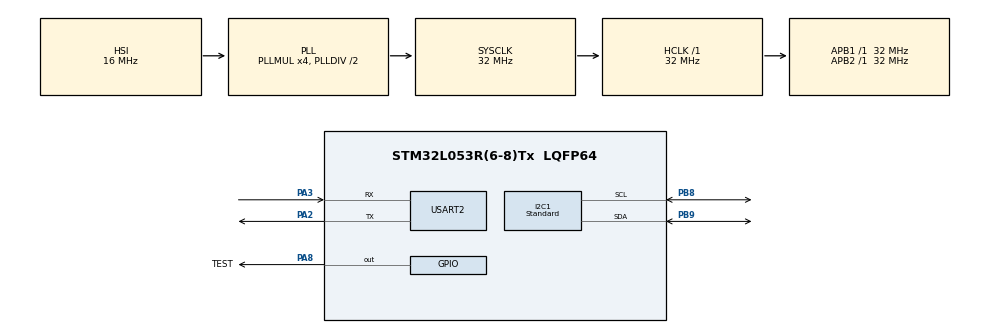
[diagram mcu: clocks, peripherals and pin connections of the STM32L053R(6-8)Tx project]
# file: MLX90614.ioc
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I2C1.I2C_Speed_Mode=I2C_Standard
I2C1.Timing=0x00707CBB
Mcu.Family=STM32L0
Mcu.Name=STM32L053R(6-8)Tx
Mcu.Package=LQFP64
PA2.Mode=Asynchronous
PA2.Signal=USART2_TX
PA3.Mode=Asynchronous
PA3.Signal=USART2_RX
PA8.GPIO_Label=TEST
PA8.Signal=GPIO_Output
PB8.Mode=I2C
PB8.Signal=I2C1_SCL
PB9.Mode=I2C
PB9.Signal=I2C1_SDA
ProjectManager.HeapSize=0x200
ProjectManager.StackSize=0x400
ProjectManager.TargetToolchain=SW4STM32
RCC.AHBFreq_Value=32000000
RCC.APB1Freq_Value=32000000
RCC.APB1TimFreq_Value=32000000
RCC.APB2Freq_Value=32000000
RCC.APB2TimFreq_Value=32000000
RCC.HCLKFreq_Value=32000000
RCC.HSE_VALUE=8000000
RCC.HSI16_VALUE=16000000
RCC.HSI48_VALUE=48000000
RCC.HSI_VALUE=16000000
RCC.LSE_VALUE=32768
RCC.MSI_VALUE=2097000
RCC.PLLMUL=RCC_PLLMUL_4
RCC.SYSCLKFreq_VALUE=32000000
RCC.SYSCLKSource=RCC_SYSCLKSOURCE_PLLCLK
RCC.VCOOutputFreq_Value=64000000
USART2.VirtualMode-Asynchronous=VM_ASYNC
board=custom

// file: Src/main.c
/* USER CODE BEGIN Header */
/**
  ******************************************************************************
  * @file           : main.c
  * @brief          : Main program body
  ******************************************************************************
  ** This notice applies to any and all portions of this file
  * that are not between comment pairs USER CODE BEGIN and
  * USER CODE END. Other portions of this file, whether
  * inserted by the user or by software development tools
  * are owned by their respective copyright owners.
  *
  * COPYRIGHT(c) 2019 STMicroelectronics
  *
  * Redistribution and use in source and binary forms, with or without modification,
  * are permitted provided that the following conditions are met:
  *   1. Redistributions of source code must retain the above copyright notice,
  *      this list of conditions and the following disclaimer.
  *   2. Redistributions in binary form must reproduce the above copyright notice,
  *      this list of conditions and the following disclaimer in the documentation
  *      and/or other materials provided with the distribution.
  *   3. Neither the name of STMicroelectronics nor the names of its contributors
  *      may be used to endorse or promote products derived from this software
  *      without specific prior written permission.
  *
  * THIS SOFTWARE IS PROVIDED BY THE COPYRIGHT HOLDERS AND CONTRIBUTORS "AS IS"
  * AND ANY EXPRESS OR IMPLIED WARRANTIES, INCLUDING, BUT NOT LIMITED TO, THE
  * IMPLIED WARRANTIES OF MERCHANTABILITY AND FITNESS FOR A PARTICULAR PURPOSE ARE
  * DISCLAIMED. IN NO EVENT SHALL THE COPYRIGHT HOLDER OR CONTRIBUTORS BE LIABLE
  * FOR ANY DIRECT, INDIRECT, INCIDENTAL, SPECIAL, EXEMPLARY, OR CONSEQUENTIAL
  * DAMAGES (INCLUDING, BUT NOT LIMITED TO, PROCUREMENT OF SUBSTITUTE GOODS OR
  * SERVICES; LOSS OF USE, DATA, OR PROFITS; OR BUSINESS INTERRUPTION) HOWEVER
  * CAUSED AND ON ANY THEORY OF LIABILITY, WHETHER IN CONTRACT, STRICT LIABILITY,
  * OR TORT (INCLUDING NEGLIGENCE OR OTHERWISE) ARISING IN ANY WAY OUT OF THE USE
  * OF THIS SOFTWARE, EVEN IF ADVISED OF THE POSSIBILITY OF SUCH DAMAGE.
  *
  ******************************************************************************
  */
/* USER CODE END Header */

#include "main.h"
#include "i2c.h"
#include "usart.h"
#include "gpio.h"

/* USER CODE BEGIN Includes */
#include <stdio.h>
#include <string.h>
#include "mlx90614.h"
/* USER CODE END Includes */

/* USER CODE BEGIN PTD */
#define TIME_TEST
/* USER CODE END PTD */

/* USER CODE BEGIN PV */
char buf[30];
uint8_t len;

float ObjectTemperature;
float AmbientTemperature;
float Emissivity;
/* USER CODE END PV */

void SystemClock_Config(void);

int main(void)
{

  /* MCU Configuration--------------------------------------------------------*/

  /* Reset of all peripherals, Initializes the Flash interface and the Systick. */
  HAL_Init();

  /* Configure the system clock */
  SystemClock_Config();

  /* Initialize all configured peripherals */
  MX_GPIO_Init();
  MX_USART2_UART_Init();
  MX_I2C1_Init();
  /* USER CODE BEGIN 2 */
  HAL_GPIO_WritePin(TEST_GPIO_Port, TEST_Pin, 0);
  MLX90614_Init(&hi2c1);
  MLX90614_SetEmissivity(0.985); // Human skin
  /* USER CODE END 2 */

  /* Infinite loop */
  /* USER CODE BEGIN WHILE */
  while (1)
  {

	  MLX90614_ReadAmbientTemperature(&AmbientTemperature);
#ifdef TIME_TEST
	  HAL_GPIO_WritePin(TEST_GPIO_Port, TEST_Pin, 1);
#endif
	  MLX90614_ReadObjectTemperature(&ObjectTemperature);
#ifdef TIME_TEST
	  HAL_GPIO_WritePin(TEST_GPIO_Port, TEST_Pin, 0);
#endif
	  MLX90614_GetEmissivity(&Emissivity);

	  memset(buf, 0x00, 30);
	  len = sprintf(buf, "Emissivity: %.3f\n\r", Emissivity);
	  HAL_UART_Transmit(&huart2, (uint8_t*)buf, len, 20);

	  memset(buf, 0x00, 30);
	  len = sprintf(buf, "Ambient: %.2f\n\r", AmbientTemperature);
	  HAL_UART_Transmit(&huart2, (uint8_t*)buf, len, 20);

	  memset(buf, 0x00, 30);
	  len = sprintf(buf, "Object: %.2f\n\n\r", ObjectTemperature);
	  HAL_UART_Transmit(&huart2, (uint8_t*)buf, len, 20);

	  HAL_Delay(500);
    /* USER CODE END WHILE */

  }
}

void SystemClock_Config(void)
{
  RCC_OscInitTypeDef RCC_OscInitStruct = {0};
  RCC_ClkInitTypeDef RCC_ClkInitStruct = {0};
  RCC_PeriphCLKInitTypeDef PeriphClkInit = {0};

  /**Configure the main internal regulator output voltage
  */
  __HAL_PWR_VOLTAGESCALING_CONFIG(PWR_REGULATOR_VOLTAGE_SCALE1);
  /**Initializes the CPU, AHB and APB busses clocks
  */
  RCC_OscInitStruct.OscillatorType = RCC_OSCILLATORTYPE_HSI;
  RCC_OscInitStruct.HSIState = RCC_HSI_ON;
  RCC_OscInitStruct.HSICalibrationValue = RCC_HSICALIBRATION_DEFAULT;
  RCC_OscInitStruct.PLL.PLLState = RCC_PLL_ON;
  RCC_OscInitStruct.PLL.PLLSource = RCC_PLLSOURCE_HSI;
  RCC_OscInitStruct.PLL.PLLMUL = RCC_PLLMUL_4;
  RCC_OscInitStruct.PLL.PLLDIV = RCC_PLLDIV_2;
  if (HAL_RCC_OscConfig(&RCC_OscInitStruct) != HAL_OK)
  {
    Error_Handler();
  }
  /**Initializes the CPU, AHB and APB busses clocks
  */
  RCC_ClkInitStruct.ClockType = RCC_CLOCKTYPE_HCLK|RCC_CLOCKTYPE_SYSCLK
                              |RCC_CLOCKTYPE_PCLK1|RCC_CLOCKTYPE_PCLK2;
  RCC_ClkInitStruct.SYSCLKSource = RCC_SYSCLKSOURCE_PLLCLK;
  RCC_ClkInitStruct.AHBCLKDivider = RCC_SYSCLK_DIV1;
  RCC_ClkInitStruct.APB1CLKDivider = RCC_HCLK_DIV1;
  RCC_ClkInitStruct.APB2CLKDivider = RCC_HCLK_DIV1;

  if (HAL_RCC_ClockConfig(&RCC_ClkInitStruct, FLASH_LATENCY_1) != HAL_OK)
  {
    Error_Handler();
  }
  PeriphClkInit.PeriphClockSelection = RCC_PERIPHCLK_USART2|RCC_PERIPHCLK_I2C1;
  PeriphClkInit.Usart2ClockSelection = RCC_USART2CLKSOURCE_PCLK1;
  PeriphClkInit.I2c1ClockSelection = RCC_I2C1CLKSOURCE_PCLK1;
  if (HAL_RCCEx_PeriphCLKConfig(&PeriphClkInit) != HAL_OK)
  {
    Error_Handler();
  }
}

void Error_Handler(void)
{
}

/************************ (C) COPYRIGHT STMicroelectronics *****END OF FILE****/
